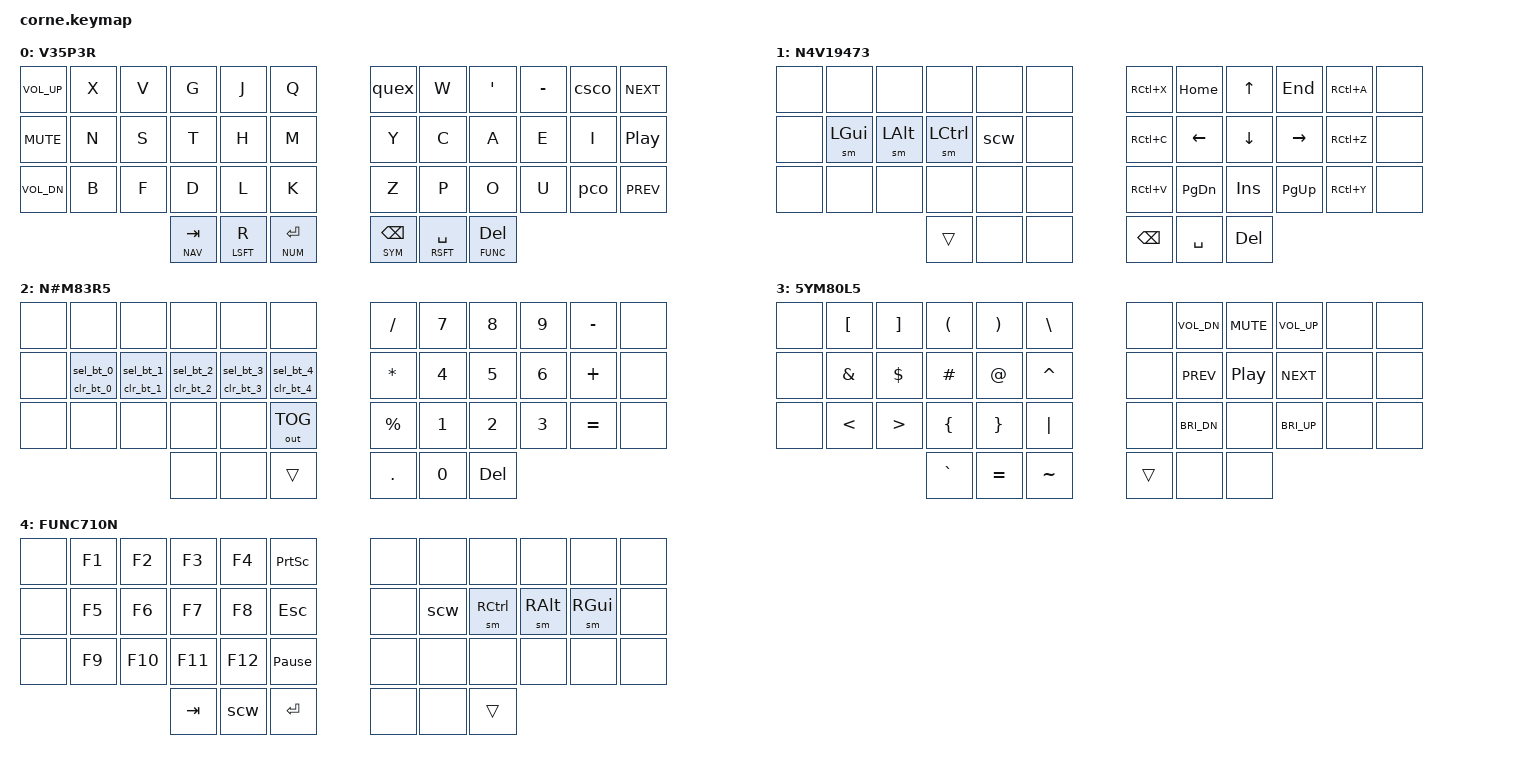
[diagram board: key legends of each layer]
    /*
 * Copyright (c) 2020 The ZMK Contributors
 *
 * SPDX-License-Identifier: MIT
 */

/*defines*/

#define ZMK_POINTING_DEFAULT_MOVE_VAL 600  // default: 600
#define ZMK_POINTING_DEFAULT_SCRL_VAL 10   // default: 10
#include <behaviors.dtsi>
#include <dt-bindings/zmk/pointing.h>
#include <dt-bindings/zmk/keys.h>
#include <dt-bindings/zmk/bt.h>
#include <dt-bindings/zmk/outputs.h>

#define BASE 0
#define NAV  1
#define NUM  2     
#define SYM  3
#define FUNC 4
#define HYPER LS(LC(LG(LALT)))
#define MEH   LS(LC(LALT))

/ {

/*capsword*/

        caps: capsword {
            compatible = "zmk,behavior-caps-word";
            display-name = "CAPSWORD";
            #binding-cells = <0>;
            continue-list = <UNDER MINUS BSPC DEL LEFT DOWN UP RIGHT>;
                       };

   behaviors {

/*sticky mods*/

        sm: sticky_mods {
            compatible = "zmk,behavior-sticky-key";
            display-name = "STICKY_MODS";
            #binding-cells = <1>;
            bindings = <&kp>;
            release-after-ms = <2000>;
            ignore-modifiers;
                        };

/*sticky shift*/

        ss: sticky_shift {
            compatible = "zmk,behavior-sticky-key";
            display-name = "STICKY_SHIFT";
            #binding-cells = <1>;
            bindings = <&kp>;
            release-after-ms = <2000>;
            quick-release;
            lazy;
            ignore-modifiers;
                        };

/*shift capsword tapdance*/

        scw: shift_capsword {
            compatible = "zmk,behavior-tap-dance";
            display-name = "SHIFT_CAPSWORD";
            #binding-cells = <0>;
            tapping-term-ms = <200>;
            bindings = <&ss LSFT>, <&caps>;
        };

/*base modmorphs*/

        csco: comma_semicolon {
            compatible = "zmk,behavior-mod-morph";
            display-name = "COMMA_SEMICOLON";
            #binding-cells = <0>;
            bindings = <&kp COMMA>, <&kp SEMI>;
            mods = <(MOD_LSFT|MOD_RSFT)>;
                               };

        pco: period_colon {
            compatible = "zmk,behavior-mod-morph";
            display-name = "PERIOD_COLON";
            #binding-cells = <0>;
            bindings = <&kp DOT>, <&kp COLON>;
            mods = <(MOD_LSFT|MOD_RSFT)>;
                           };

        quex: question_exclamation {
            compatible = "zmk,behavior-mod-morph";
            display-name = "QUESTION_EXCLAMATION";
            #binding-cells = <0>;
            bindings = <&kp QMARK>, <&kp EXCL>;
            mods = <(MOD_LSFT|MOD_RSFT)>;
                                   };

/*mod holdtap keys*/

        mhl: mod_holdtap_left {
            compatible = "zmk,behavior-hold-tap";
            display-name = "MOD_HOLDTAP_LEFT";
            #binding-cells = <2>;
            flavor = "balanced";
            require-prior-idle-ms = <125>;
            tapping-term-ms = <150>;
            quick-tap-ms = <125>;
            bindings = <&kp>, <&kp>;
            hold-trigger-key-positions = <21 22 23 24 25 26 27 28 29 30 31 32 33 34 35 36 37 38 39 40 41>; // List of keys on the right side of the keyboard
            hold-trigger-on-release;            
                               };
        mhr: mod_holdtap_right {
            compatible = "zmk,behavior-hold-tap";
            display-name = "MOD_HOLDTAP_RIGHT";
            #binding-cells = <2>;
            flavor = "balanced";
            require-prior-idle-ms = <125>;
            tapping-term-ms = <150>;
            quick-tap-ms = <125>;
            bindings = <&kp>, <&kp>;
            hold-trigger-key-positions = <0 1 2 3 4 5 6 7 8 9 10 11 12 13 14 15 16 17 18 19 20>; // List of keys on the left side of the keyboard
            hold-trigger-on-release;            
                                };


/*layer holdtap keys*/

        lht: layer_holdtap {
            compatible = "zmk,behavior-hold-tap";
            display-name = "LAYER_HOLDTAP";
            #binding-cells = <2>;
            flavor = "tap-preferred";
            require-prior-idle-ms = <125>;
            tapping-term-ms = <200>;
            quick-tap-ms = <300>;
            bindings = <&mo>, <&kp>;
                           };

/*bluetooth holdtap keys*/

        bt0: bluetooth_0_clear {
            compatible = "zmk,behavior-hold-tap";
            display-name = "BLUETOOTH_0_CLEAR";
            #binding-cells = <2>;
            flavor = "tap-preferred";
            tapping-term-ms = <1500>;
            bindings = <&clr_bt_0>, <&sel_bt_0>;
                               };

        bt1: bluetooth_1_clear {
            compatible = "zmk,behavior-hold-tap";
            display-name = "BLUETOOTH_1_CLEAR";
            #binding-cells = <2>;
            flavor = "tap-preferred";
            tapping-term-ms = <1500>;
            bindings = <&clr_bt_1>, <&sel_bt_1>;
                               };

        bt2: bluetooth_2_clear {
            compatible = "zmk,behavior-hold-tap";
            display-name = "BLUETOOTH_2_CLEAR";
            #binding-cells = <2>;
            flavor = "tap-preferred";
            tapping-term-ms = <1500>;
            bindings = <&clr_bt_2>, <&sel_bt_2>;
                               };

        bt3: bluetooth_3_clear {
            compatible = "zmk,behavior-hold-tap";
            display-name = "BLUETOOTH_3_CLEAR";
            #binding-cells = <2>;
            flavor = "tap-preferred";
            tapping-term-ms = <1500>;
            bindings = <&clr_bt_3>, <&sel_bt_3>;
                               };

        bt4: bluetooth_4_clear {
            compatible = "zmk,behavior-hold-tap";
            display-name = "BLUETOOTH_4_CLEAR";
            #binding-cells = <2>;
            flavor = "tap-preferred";
            tapping-term-ms = <1500>;
            bindings = <&clr_bt_4>, <&sel_bt_4>;
                               };
             };

   macros {

/*bluetooth press macros*/

        sel_bt_0: sel_bt_0 {            
            compatible = "zmk,behavior-macro";
            display-name = "SEL_BT_0";
            #binding-cells = <0>;
            bindings
                = <&macro_tap &bt BT_SEL 0>
                ;
                           };

        sel_bt_1: sel_bt_1 {            
            compatible = "zmk,behavior-macro";
            display-name = "SEL_BT_1";
            #binding-cells = <0>;
            bindings
                = <&macro_tap &bt BT_SEL 1>
                ;
                           };

        sel_bt_2: sel_bt_2 {            
            compatible = "zmk,behavior-macro";
            display-name = "SEL_BT_2";
            #binding-cells = <0>;
            bindings
                = <&macro_tap &bt BT_SEL 2>
                ;
                           };

        sel_bt_3: sel_bt_3 {            
            compatible = "zmk,behavior-macro";
            display-name = "SEL_BT_3";
            #binding-cells = <0>;
            bindings
                = <&macro_tap &bt BT_SEL 3>
                ;
                           };

        sel_bt_4: sel_bt_4 {            
            compatible = "zmk,behavior-macro";
            display-name = "SEL_BT_4";
            #binding-cells = <0>;
            bindings
                = <&macro_tap &bt BT_SEL 4>
                ;
                           };

/*bluetooth clear macros*/

        clr_bt_0: clr_bt_0 {            
            compatible = "zmk,behavior-macro";
            display-name = "CLR_BT_0";
            #binding-cells = <0>;
            bindings
                = <&macro_tap &bt BT_SEL 0>
                , <&macro_tap &bt BT_CLR>
                ;
                           };

        clr_bt_1: clr_bt_1 {            
            compatible = "zmk,behavior-macro";
            display-name = "CLR_BT_1";
            #binding-cells = <0>;
            bindings
                = <&macro_tap &bt BT_SEL 1>
                , <&macro_tap &bt BT_CLR>
                ;
                           };

        clr_bt_2: clr_bt_2 {            
            compatible = "zmk,behavior-macro";
            display-name = "CLR_BT_2";
            #binding-cells = <0>;
            bindings
                = <&macro_tap &bt BT_SEL 2>
                , <&macro_tap &bt BT_CLR>
                ;
                           };

        clr_bt_3: clr_bt_3 {            
            compatible = "zmk,behavior-macro";
            display-name = "CLR_BT_3";
            #binding-cells = <0>;
            bindings
                = <&macro_tap &bt BT_SEL 3>
                , <&macro_tap &bt BT_CLR>
                ;
                           };

        clr_bt_4: clr_bt_4 {            
            compatible = "zmk,behavior-macro";
            display-name = "CLR_BT_4";
            #binding-cells = <0>;
            bindings
                = <&macro_tap &bt BT_SEL 4>
                , <&macro_tap &bt BT_CLR>
                ;
                           };

           };

   keymap {
         compatible = "zmk,keymap";
            base_layer {
                  display-name = "V35P3R";
                  bindings = <
//  ___________________________________________________________________________________       ___________________________________________________________________________________
// |             |             |             |             |             |             ||  ||             |             |             |             |             |             |
     &kp C_VOL_UP     &kp X         &kp V         &kp G         &kp J         &kp Q              &quex         &kp W        &kp APOS     &kp MINUS       &csco      &kp C_NEXT
// |_____________|_____________|_____________|_____________|_____________|_____________||  ||_____________|_____________|_____________|_____________|_____________|_____________|
// |             |             |             |             |             |             ||  ||             |             |             |             |             |             |
      &kp C_MUTE      &kp N         &kp S         &kp T         &kp H         &kp M              &kp Y         &kp C         &kp A         &kp E         &kp I       &kp C_PP
// |_____________|_____________|_____________|_____________|_____________|_____________||  ||_____________|_____________|_____________|_____________|_____________|_____________|
// |             |             |             |             |             |             ||  ||             |             |             |             |             |             |
     &kp C_VOL_DN     &kp B         &kp F         &kp D         &kp L         &kp K              &kp Z         &kp P         &kp O         &kp U         &pco       &kp C_PREV
// |_____________|_____________|_____________|_____________|_____________|_____________||  ||_____________|_____________|_____________|_____________|_____________|_____________|
//                                           |             |             |             ||  ||             |             |             |
                                               &lht NAV TAB  &mhl LSFT R  &lht NUM ENTER    &lht SYM BSPC &mhr RSFT SPACE &lht FUNC DEL
//                                           |_____________|_____________|_____________||  ||_____________|_____________|_____________|                  
                             >;
                              };
            navigation_layer {
                  display-name = "N4V19473";
                  bindings = <

//  ___________________________________________________________________________________       ___________________________________________________________________________________
// |             |             |             |             |             |             ||  ||             |             |             |             |             |             |
        &none         &none         &none         &none         &none         &none            &kp RC(X)     &kp HOME       &kp UP        &kp END      &kp RC(A)       &none
// |_____________|_____________|_____________|_____________|_____________|_____________||  ||_____________|_____________|_____________|_____________|_____________|_____________|
// |             |             |             |             |             |             ||  ||             |             |             |             |             |             |
        &none       &sm LGUI      &sm LALT      &sm LCTRL       &scw          &none            &kp RC(C)     &kp LEFT      &kp DOWN      &kp RIGHT     &kp RC(Z)       &none
// |_____________|_____________|_____________|_____________|_____________|_____________||  ||_____________|_____________|_____________|_____________|_____________|_____________|
// |             |             |             |             |             |             ||  ||             |             |             |             |             |             |
        &none         &none         &none         &none         &none         &none            &kp RC(V)     &kp PG_DN      &kp INS      &kp PG_UP     &kp RC(Y)       &none
// |_____________|_____________|_____________|_____________|_____________|_____________||  ||_____________|_____________|_____________|_____________|_____________|_____________|
//                                           |             |             |             ||  ||             |             |             |
                                                 &trans         &none         &none            &kp BSPC      &kp SPACE      &kp DEL
//                                           |_____________|_____________|_____________||  ||_____________|_____________|_____________|
                             >;
                           };
            number_layer {
                  display-name = "N#M83R5";
                  bindings = <

//  ___________________________________________________________________________________       ___________________________________________________________________________________
// |             |             |             |             |             |             ||  ||             |             |             |             |             |             |
        &none         &none         &none         &none         &none         &none            &kp FSLH       &kp N7        &kp N8        &kp N9       &kp MINUS       &none
// |_____________|_____________|_____________|_____________|_____________|_____________||  ||_____________|_____________|_____________|_____________|_____________|_____________|
// |             |             |             |             |             |             ||  ||             |             |             |             |             |             |
        &none        &bt0 0 0      &bt1 0 0      &bt2 0 0      &bt3 0 0      &bt4 0 0          &kp ASTRK      &kp N4        &kp N5        &kp N6       &kp PLUS        &none
// |_____________|_____________|_____________|_____________|_____________|_____________||  ||_____________|_____________|_____________|_____________|_____________|_____________|
// |             |             |             |             |             |             ||  ||             |             |             |             |             |             |
        &none         &none         &none         &none         &none      &out OUT_TOG        &kp PRCNT      &kp N1        &kp N2        &kp N3       &kp EQUAL       &none
// |_____________|_____________|_____________|_____________|_____________|_____________||  ||_____________|_____________|_____________|_____________|_____________|_____________|
//                                           |             |             |             ||  ||             |             |             |
                                                  &none         &none        &trans             &kp DOT       &kp N0        &kp DEL
//                                           |_____________|_____________|_____________||  ||_____________|_____________|_____________|
                             >;
                        };
            symbol_layer {
                  display-name = "5YM80L5";
                  bindings = <

//  ___________________________________________________________________________________       ___________________________________________________________________________________
// |             |             |             |             |             |             ||  ||             |             |             |             |             |             |
        &none       &kp LBKT      &kp RBKT      &kp LPAR      &kp RPAR      &kp BSLH             &none      &kp C_VOL_DN   &kp C_MUTE   &kp C_VOL_UP     &none         &none
// |_____________|_____________|_____________|_____________|_____________|_____________||  ||_____________|_____________|_____________|_____________|_____________|_____________|
// |             |             |             |             |             |             ||  ||             |             |             |             |             |             |
        &none       &kp AMPS      &kp DLLR      &kp HASH       &kp AT       &kp CARET            &none      &kp C_PREV     &kp C_PP     &kp C_NEXT       &none         &none
// |_____________|_____________|_____________|_____________|_____________|_____________||  ||_____________|_____________|_____________|_____________|_____________|_____________|
// |             |             |             |             |             |             ||  ||             |             |             |             |             |             |
        &none        &kp LT        &kp GT       &kp LBRC      &kp RBRC      &kp PIPE             &none      &kp C_BRI_DN     &none      &kp C_BRI_UP     &none         &none
// |_____________|_____________|_____________|_____________|_____________|_____________||  ||_____________|_____________|_____________|_____________|_____________|_____________|
//                                           |             |             |             ||  ||             |             |             |
                                                &kp GRAVE     &kp EQUAL     &kp TILDE           &trans         &none         &none
//                                           |_____________|_____________|_____________||  ||_____________|_____________|_____________|
                             >;
                        };
            function_layer {
                  display-name = "FUNC710N";
                  bindings = <
//  ___________________________________________________________________________________       ___________________________________________________________________________________
// |             |             |             |             |             |             ||  ||             |             |             |             |             |             |
        &none        &kp F1        &kp F2        &kp F3        &kp F4       &kp PSCRN            &none         &none         &none         &none         &none         &none
// |_____________|_____________|_____________|_____________|_____________|_____________||  ||_____________|_____________|_____________|_____________|_____________|_____________|
// |             |             |             |             |             |             ||  ||             |             |             |             |             |             |
        &none        &kp F5        &kp F6        &kp F7        &kp F8        &kp ESC             &none         &scw        &sm RCTRL     &sm RALT      &sm RGUI        &none
// |_____________|_____________|_____________|_____________|_____________|_____________||  ||_____________|_____________|_____________|_____________|_____________|_____________|
// |             |             |             |             |             |             ||  ||             |             |             |             |             |             |
        &none        &kp F9        &kp F10       &kp F11       &kp F12    &kp PAUSE_BREAK        &none         &none         &none         &none         &none         &none
// |_____________|_____________|_____________|_____________|_____________|_____________||  ||_____________|_____________|_____________|_____________|_____________|_____________|
//                                           |             |             |             ||  ||             |             |             |
                                                 &kp TAB        &scw        &kp ENTER            &none         &none        &trans
//                                           |_____________|_____________|_____________||  ||_____________|_____________|_____________|
                             >;
                          };
          };
  };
